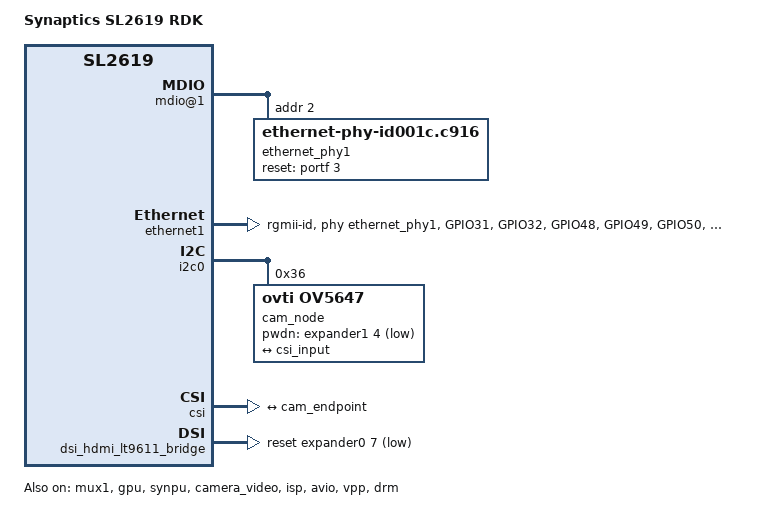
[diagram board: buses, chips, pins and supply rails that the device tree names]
// SPDX-License-Identifier: (GPL-2.0 OR MIT)
/*
 * Copyright (C) 2025 Synaptics Incorporated
 *
 * Author: Jisheng Zhang <jszhang@kernel.org>
 */

/dts-v1/;

#include "sl2619.dtsi"
#include "sl261x-rdk-common.dtsi"
#include "sl261x-rtl8211f-dc.dtsi"

/ {
	model = "Synaptics SL2619 RDK";
	compatible = "syna,sl2619-rdk", "syna,sl2619";

	aliases {
		ethernet0 = &ethernet1;
		ethernet1 = &ethernet0;
	};

	mdio-demux {
		mdio-parent-bus = <&mdio0>, <&mdio1>;

		mdio@1 {
			reg = <0x1>;
			#address-cells = <1>;
			#size-cells = <0>;

			ethernet_phy1: ethernet-phy@2 {
				compatible = "ethernet-phy-id001c.c916";
				reg = <2>;
				pinctrl-0 = <&eth1_phy_rst_pmux>;
				pinctrl-names = "default";
				realtek,clkout-disable;
				reset-assert-us = <20000>;
				reset-deassert-us = <100000>;
				reset-gpios = <&portf 3 GPIO_ACTIVE_HIGH>;
			};
		};
	};
};

&pinctrl {
	eth_mdio_pmux: eth-mdio-pmux {
		groups = "GPIO31", "GPIO32";
		function = "rgmii";
		drive-strength = <7>;
	};

	eth1_tx_pmux: eth1_tx-pmux {
		groups = "GPIO48", "GPIO49", "GPIO50", "GPIO51", "GPIO57", "GPIO58";
		function = "rgmii2";
		drive-strength = <10>;
		input-disable;
		bias-disable;
	};

	eth1_rx_pmux: eth1_rx-pmux {
		groups = "GPIO52", "GPIO53", "GPIO54", "GPIO55", "GPIO56", "GPIO59";
		function = "rgmii2";
		drive-strength = <7>;
	};
};

&sm_pinctrl {
	eth1_phy_rst_pmux: eth1_phy_rst-pmux {
		groups = "SM_GPIO35";
		function = "gpio";
	};
};

&mux1 {
	status = "okay";
};

&ethernet1 {
	status = "okay";
	pinctrl-0 = <&eth_mdio_pmux>, <&eth1_tx_pmux>, <&eth1_rx_pmux>;
	pinctrl-names = "default";
	phy-handle = <&ethernet_phy1>;
	phy-mode = "rgmii-id";
	snps,no-mac-wol;

	mdio1: mdio {
		compatible = "snps,dwmac-mdio";
		#address-cells = <1>;
		#size-cells = <0>;
	};
};

&i2c0 {
	cam_node: ov5647@36 {
		compatible = "ovti,ov5647";
		reg = <0x36>;
		status = "okay";

		pwdn-gpios = <&expander1 4 GPIO_ACTIVE_LOW>;
		clocks = <&osc>;

		rotation = <0>;
		orientation = <2>;

		port {
			cam_endpoint: endpoint {
				clock-lanes = <0>;
				data-lanes = <1 2>;
				clock-noncontinuous;
				remote-endpoint = <&csi_input>;
			};
		};
	};
};

&gpu {
	status = "okay";
};

&smmu {
	status = "okay";
};

&synpu {
	status = "okay";
};

&camera_video {
	status = "okay";
};

&isp {
	status = "okay";
};

&csi {
	status = "okay";

	ports {
		port@0 {
			csi_input: endpoint@0 {
				remote-endpoint = <&cam_endpoint>;
			};
		};
	};
};

&avio {
	status = "okay";
};

&vpp {
	status = "okay";
	enable_ampless_boot = <1>;
};

&drm {
	status = "okay";

	dsi_panel {
		status= "okay";

		ACTIVE_WIDTH = <1920>;
		HFP = <88>;
		HSYNCWIDTH = <44>;
		HBP = <148>;
		ACTIVE_HEIGHT = <1080>;
		VFP = <4>;
		VSYNCWIDTH = <5>;
		VBP = <36>;
		FREQ = <148500>;
		bits_per_pixel = <24>;
		busformat = <0>;

		HTOTAL = <2200>;
		Lanes = /bits/ 8 <4>;
		Vid_mode = /bits/ 8 <2>;
		virtual_chan = /bits/ 8 <0>;
		Clk_Lane_Polarity = /bits/ 8 <0>;
		Data_Lane_Polarity = /bits/ 8 <0>;
		Recv_ack = /bits/ 8 <0>;
		Loosely_18 = /bits/ 8 <0>;
		H_polarity = /bits/ 8 <1>;
		V_Polarity = /bits/ 8 <1>;
		Data_Polarity = /bits/ 8 <1>;
		Eotp_tx = /bits/ 8 <1>;
		Eotp_rx = /bits/ 8 <0>;
		non-Continuous_clk = /bits/ 8 <0>;
		dpi_lp_cmd = /bits/ 8 <1>;
		Color_coding = /bits/ 8 <5>;
		Chunks = <0>;
		Null_Pkt = <0>;
		Byte_clk = <148500>;

		/*  COMMAND= Command for initialisation
		*  Format - <CMD> <Payloadlength-n> <BYTE1> <...> <BYTEn>
		*  Long write Ex: 39 04 FF 98 81 03

		*  Delay in micro seconds Command format: 0xFF <4BYTE delay>
		*  Delay for 100ms(100000us => 0x000186A0)
		*      - FF A0 86 01 00
		*/
		command = /bits/ 8 <0xFF 0x10 0x27 0x00 0x00>;
	};

	dsi_hdmi_lt9611_bridge {
		compatible = "syna-bridge,lt9611";
		enable-gpio =  <&expander0 1 GPIO_ACTIVE_HIGH>;
		reset-gpio =  <&expander0 7 GPIO_ACTIVE_LOW>;
		i2c_bus = <2>;
	};
};
